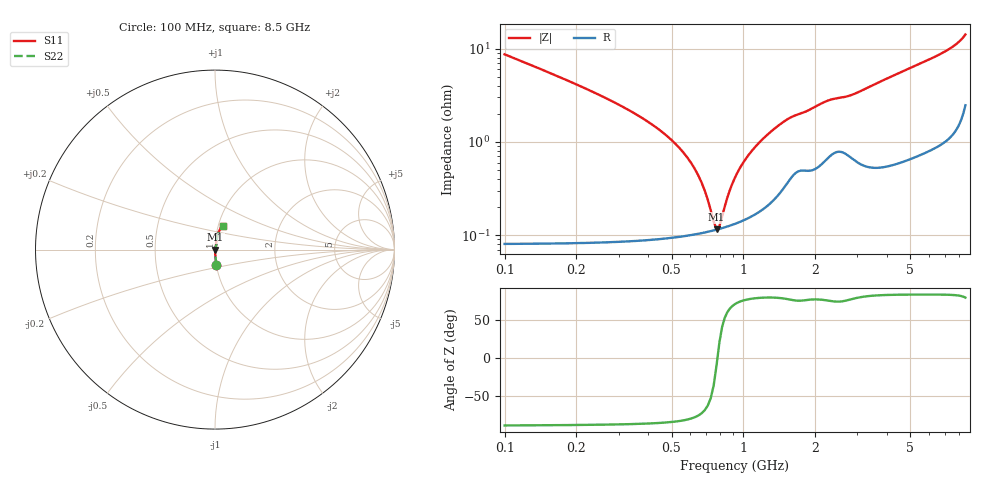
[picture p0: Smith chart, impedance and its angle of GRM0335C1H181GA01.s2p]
!Murata Part Number: GRM0335C1H181GA01
!These Parameters are Measured in Series Mode Connection
!Data Generated on Mar 30, 2021
!  o--ll--o
!Port1  Port2
!  o------o
!Operation Temp=25[degC], DC Bias Voltage=0[V]
!Freq. Start=100[MHz] Stop=9[GHz] 401[Steps]
# Hz S RI R 50
!Freq.(Hz) S11(Real) S11(Imag) S21(Real) S21(Imag) S12(Real) S12(Imag) S22(Real) S22(Imag)
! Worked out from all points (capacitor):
!   401 points, 100 MHz to 8.5 GHz, reference 50 ohm
!   read as one part in series: C = 180 pF near 142 MHz
!   lowest |Z| = 116 mohm at 772 MHz (marker M1)
!   series resonance near 778.4 MHz, so ESL is about 230 pH
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1e8  0.00829 -0.0862  0.9917 0.0862  0.9917 0.0862  0.00829 -0.0862
2.47e8  0.00186 -0.0321  0.9981 0.0321  0.9981 0.0321  0.00186 -0.0321
4.78e8  0.00105 -0.0115  0.9989 0.0115  0.9989 0.0115  0.00105 -0.0115
5.83e8  0.00103 -0.00668  0.999 0.00668  0.999 0.00668  0.00103 -0.00668
6.67e8  0.00106 -0.00354  0.9989 0.00354  0.9989 0.00354  0.00106 -0.00354
7.3e8  0.0011 -0.00147  0.9989 0.00147  0.9989 0.00147  0.0011 -0.00147
7.51e8  0.00112 -0.000817  0.9989 0.000817  0.9989 0.000817  0.00112 -0.000817
7.72e8  0.00114 -0.000186  0.9989 0.000186  0.9989 0.000186  0.00114 -0.000186
7.93e8  0.00116 0.000429  0.9988 -0.000429  0.9988 -0.000429  0.00116 0.000429
8.14e8  0.00119 0.00103  0.9988 -0.00103  0.9988 -0.00103  0.00119 0.00103
8.77e8  0.00127 0.00275  0.9987 -0.00275  0.9987 -0.00275  0.00127 0.00275
9.19e8  0.00133 0.00384  0.9987 -0.00384  0.9987 -0.00384  0.00133 0.00384
9.82e8  0.00144 0.00541  0.9986 -0.00541  0.9986 -0.00541  0.00144 0.00541
1.045e9  0.00156 0.00692  0.9984 -0.00692  0.9984 -0.00692  0.00156 0.00692
1.234e9  0.00209 0.0112  0.9979 -0.0112  0.9979 -0.0112  0.00209 0.0112
1.507e9  0.00371 0.0166  0.9963 -0.0166  0.9963 -0.0166  0.00371 0.0166
2.221e9  0.00707 0.0262  0.9929 -0.0262  0.9929 -0.0262  0.00707 0.0262
2.914e9  0.00732 0.0317  0.9927 -0.0317  0.9927 -0.0317  0.00732 0.0317
4.3e9  0.00832 0.0512  0.9917 -0.0512  0.9917 -0.0512  0.00832 0.0512
5.707e9  0.0125 0.0704  0.9875 -0.0704  0.9875 -0.0704  0.0125 0.0704
7.114e9  0.019 0.0926  0.981 -0.0926  0.981 -0.0926  0.019 0.0926
8.5e9  0.042 0.1307  0.958 -0.1307  0.958 -0.1307  0.042 0.1307
